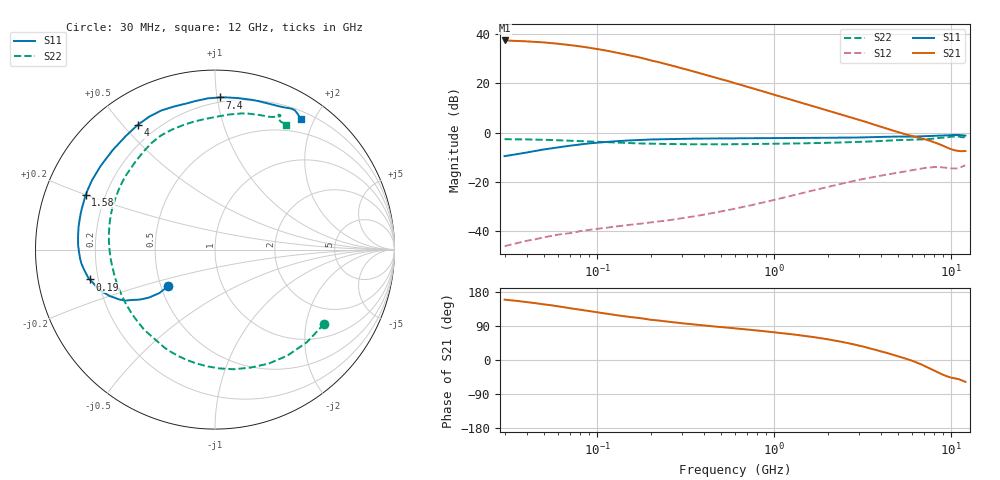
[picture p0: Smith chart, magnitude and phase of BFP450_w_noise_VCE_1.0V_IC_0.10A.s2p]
! (c) 2015  Infineon Technologies AG, Munich
! Infineon Technologies  Discrete & RF Semiconductors
! BFP450
! VCE =  1.0 V,  IC = 0.10 A
! Common Emitter S-Parameters:  Nov 2015
# GHz  S  MA  R  50
!  f  S11  S21  S12  S22
! GHz  MAG  ANG  MAG  ANG  MAG  ANG  MAG  ANG
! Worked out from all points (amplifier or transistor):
!   239 points, 30 MHz to 12 GHz, reference 50 ohm
!   highest |S21| = 37.5 dB at 30 MHz (marker M1)
!   |S21| within 3 dB of that: start of sweep to 90.86 MHz
!   unconditionally stable (mu >= 1): 789.5 MHz to end of sweep
!   at 300 MHz: K = 0.75, MSG = 30.5 dB, |S12| = -34.8 dB
!   at 1.88 GHz: K = 1.10, MAG = 14.2 dB, |S12| = -22.6 dB
!   at 12 GHz: K = 1.08, MAG = 1.2 dB, |S12| = -13.3 dB
!   lowest NFmin = 2.12 dB at 450 MHz
!   S11 on the Smith chart (normalised r, x): 30 MHz: 0.55, -0.25; 190 MHz: 0.17, -0.11; 1.58 GHz: 0.13, +0.20; 4 GHz: 0.13, +0.55; 7.4 GHz: 0.17, +1.02; 12 GHz: 0.31, +1.82
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0.03  0.3316 -142.0  74.72 159.2  0.0049 76.4  0.7358 -34.2
0.04  0.3935 -142.0  71.68 152.9  0.0063 71.8  0.7267 -45.3
0.05  0.4546 -144.0  68.12 146.8  0.0074 66.4  0.7153 -55.7
0.06  0.5016 -146.3  64.14 141.8  0.0084 64.9  0.7018 -64.9
0.07  0.5402 -148.7  60.28 136.7  0.009 60.5  0.6864 -73.4
0.085  0.5888 -151.5  54.92 131.0  0.0102 57.5  0.6674 -84.4
0.11  0.6415 -156.2  47.16 122.9  0.0115 53.9  0.6423 -99.6
0.13  0.6703 -159.4  41.95 117.9  0.0124 52.2  0.6269 -109.1
0.15  0.6912 -162.5  37.61 113.8  0.0132 51.4  0.615 -117.0
0.19  0.7168 -166.6  31.04 108.0  0.0146 51.2  0.5969 -128.5
0.2  0.7238 -167.6  29.46 106.2  0.0149 51.2  0.5962 -131.4
0.24  0.7351 -170.6  25.2 102.2  0.0161 52.0  0.5871 -139.3
0.3  0.7489 -174.2  20.28 97.0  0.0181 53.2  0.5814 -148.5
0.36  0.7545 -176.9  17.02 93.4  0.02 54.8  0.5786 -154.8
0.6  0.7658 175.6  10.07 83.3  0.0284 58.7  0.5804 -170.1
1  0.7723 167.2  5.864 73.2  0.0428 59.7  0.5915 176.7
1.58  0.7815 157.2  3.612 62.0  0.0638 55.8  0.6078 164.1
1.64  0.7825 156.2  3.473 60.9  0.0659 55.2  0.6096 162.9
4  0.8175 121.8  1.313 22.7  0.1335 27.7  0.6753 126.4
4.5  0.8264 116.3  1.147 16.1  0.1433 22.6  0.6911 120.8
7.4  0.8483 88.2  0.699 -20.4  0.1941 -8.6  0.7359 91.0
12  0.8686 56.6  0.422 -57.6  0.2166 -42.8  0.8023 60.3
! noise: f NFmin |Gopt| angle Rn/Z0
0.45  2.12  0.64  -172  0.07
0.9  2.18  0.66  -166  0.08
1.9  2.27  0.68  -150  0.16
2.4  2.36  0.67  -140  0.24
